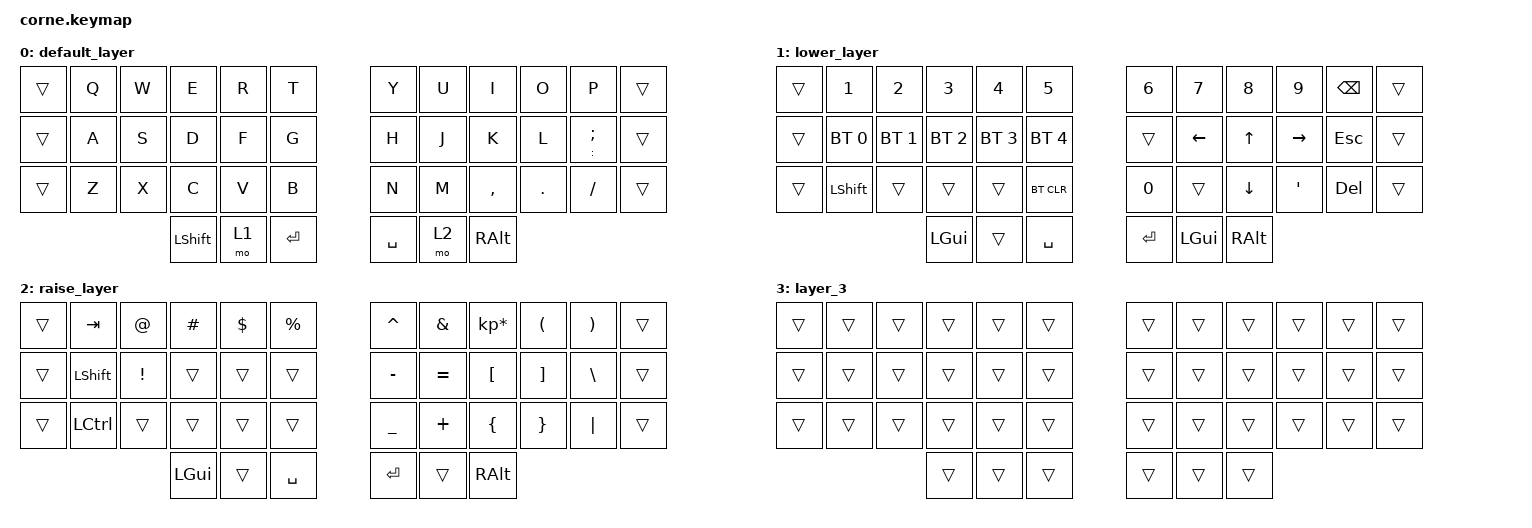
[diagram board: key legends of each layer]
/*
 * Copyright (c) 2020 The ZMK Contributors
 *
 * SPDX-License-Identifier: MIT
 */

#include <behaviors.dtsi>
#include <dt-bindings/zmk/bt.h>
#include <dt-bindings/zmk/keys.h>

/ {
    keymap {
        compatible = "zmk,keymap";

        default_layer {
            // -----------------------------------------------------------------------------------------
            // |  TAB |  Q  |  W  |  E  |  R  |  T  |   |  Y  |  U   |  I  |  O  |  P  | BKSP |
            // | CTRL |  A  |  S  |  D  |  F  |  G  |   |  H  |  J   |  K  |  L  |  ;  |  '   |
            // | SHFT |  Z  |  X  |  C  |  V  |  B  |   |  N  |  M   |  ,  |  .  |  /  | ESC  |
            //                    | GUI | LWR | SPC |   | ENT | RSE  | ALT |

            bindings = <
&trans  &kp Q  &kp W  &kp E           &kp R  &kp T         &kp Y      &kp U  &kp I      &kp O    &kp P           &trans
&trans  &kp A  &kp S  &kp D           &kp F  &kp G         &kp H      &kp J  &kp K      &kp L    &mt COLON SEMI  &trans
&trans  &kp Z  &kp X  &kp C           &kp V  &kp B         &kp N      &kp M  &kp COMMA  &kp DOT  &kp FSLH        &trans
                      &kp LEFT_SHIFT  &mo 1  &kp RETURN    &kp SPACE  &mo 2  &kp RALT
            >;
        };

        lower_layer {
            // -----------------------------------------------------------------------------------------
            // |  TAB |  1  |  2  |  3  |  4  |  5  |   |  6  |  7  |  8  |  9  |  0  | BKSP |
            // | BTCLR| BT1 | BT2 | BT3 | BT4 | BT5 |   | LFT | DWN |  UP | RGT |     |      |
            // | SHFT |     |     |     |     |     |   |     |     |     |     |     |      |
            //                    | GUI |     | SPC |   | ENT |     | ALT |

            bindings = <
&trans  &kp N1          &kp N2        &kp N3        &kp N4        &kp N5          &kp N6   &kp N7          &kp N8    &kp N9     &kp BACKSPACE  &trans
&trans  &bt BT_SEL 0    &bt BT_SEL 1  &bt BT_SEL 2  &bt BT_SEL 3  &bt BT_SEL 4    &trans   &kp LEFT_ARROW  &kp UP    &kp RIGHT  &kp ESCAPE     &trans
&trans  &kp LEFT_SHIFT  &trans        &trans        &trans        &bt BT_CLR      &kp N0   &trans          &kp DOWN  &kp APOS   &kp DEL        &trans
                                      &kp LGUI      &trans        &kp SPACE       &kp RET  &kp LGUI        &kp RALT
            >;
        };

        raise_layer {
            // -----------------------------------------------------------------------------------------
            // |  TAB |  !  |  @  |  #  |  $  |  %  |   |  ^  |  &  |  *  |  (  |  )  | BKSP |
            // | CTRL |     |     |     |     |     |   |  -  |  =  |  [  |  ]  |  \  |  `   |
            // | SHFT |     |     |     |     |     |   |  _  |  +  |  {  |  }  | "|" |  ~   |
            //                    | GUI |     | SPC |   | ENT |     | ALT |

            bindings = <
&trans  &kp TAB           &kp AT    &kp HASH  &kp DLLR  &kp PRCNT    &kp CARET  &kp AMPS   &kp KP_MULTIPLY  &kp LPAR  &kp RPAR  &trans
&trans  &kp LEFT_SHIFT    &kp EXCL  &trans    &trans    &trans       &kp MINUS  &kp EQUAL  &kp LBKT         &kp RBKT  &kp BSLH  &trans
&trans  &kp LEFT_CONTROL  &trans    &trans    &trans    &trans       &kp UNDER  &kp PLUS   &kp LBRC         &kp RBRC  &kp PIPE  &trans
                                    &kp LGUI  &trans    &kp SPACE    &kp RET    &trans     &kp RALT
            >;
        };

        layer_3 {
            bindings = <
&trans  &trans  &trans  &trans  &trans  &trans    &trans  &trans  &trans  &trans  &trans  &trans
&trans  &trans  &trans  &trans  &trans  &trans    &trans  &trans  &trans  &trans  &trans  &trans
&trans  &trans  &trans  &trans  &trans  &trans    &trans  &trans  &trans  &trans  &trans  &trans
                        &trans  &trans  &trans    &trans  &trans  &trans
            >;
        };
    };
};
